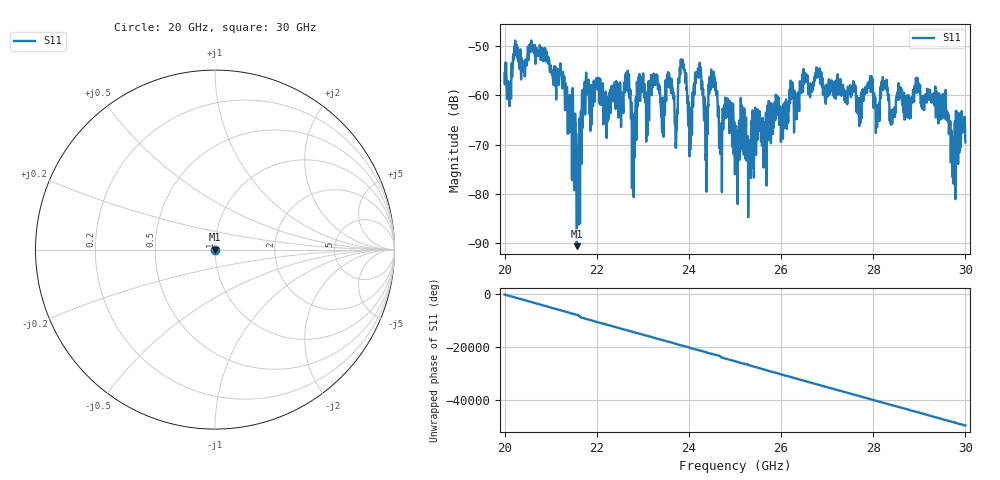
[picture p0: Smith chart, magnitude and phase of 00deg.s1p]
#  HZ  S  RI  R  50.00
! Rohde & Schwarz ZVA40 4Ports - Version 3.90 - 1145.1110k42 SN: 100403
! Date: 2023-10-03 10:18:41
! Measurement: S12
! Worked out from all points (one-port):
!   5001 points, 20 GHz to 30 GHz, reference 50 ohm
!   lowest |S11| = -90.6 dB at 21.57 GHz (marker M1), VSWR 1.00, Z = 50 - j0.00237 ohm
!   |S11| at or under -10 dB: start of sweep to end of sweep
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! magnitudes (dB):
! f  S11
! 20 GHz  -55.6
! 20.58 GHz  -48.9
! 21.25 GHz  -58.6
! 21.57 GHz  -90.6
! 21.78 GHz  -58.3
! 22.5 GHz  -61.0
! 22.66 GHz  -56.3
! 22.79 GHz  -71.6
! 22.94 GHz  -61.2
! 23.27 GHz  -57.9
! 23.43 GHz  -60.5
! 23.56 GHz  -57.7
! 23.75 GHz  -63.1
! 23.87 GHz  -53.9
! 24.03 GHz  -70.4
! 24.22 GHz  -55.5
! 24.36 GHz  -72.0
! 24.52 GHz  -56.9
! 24.68 GHz  -70.3
! 24.82 GHz  -64.3
! 25 GHz  -75.6
! 25.3 GHz  -71.3
! 26.25 GHz  -58.7
! 27.5 GHz  -57.9
! 28.75 GHz  -62.6
! 29.53 GHz  -61.5
! 29.73 GHz  -70.5
! 30 GHz  -69.5
